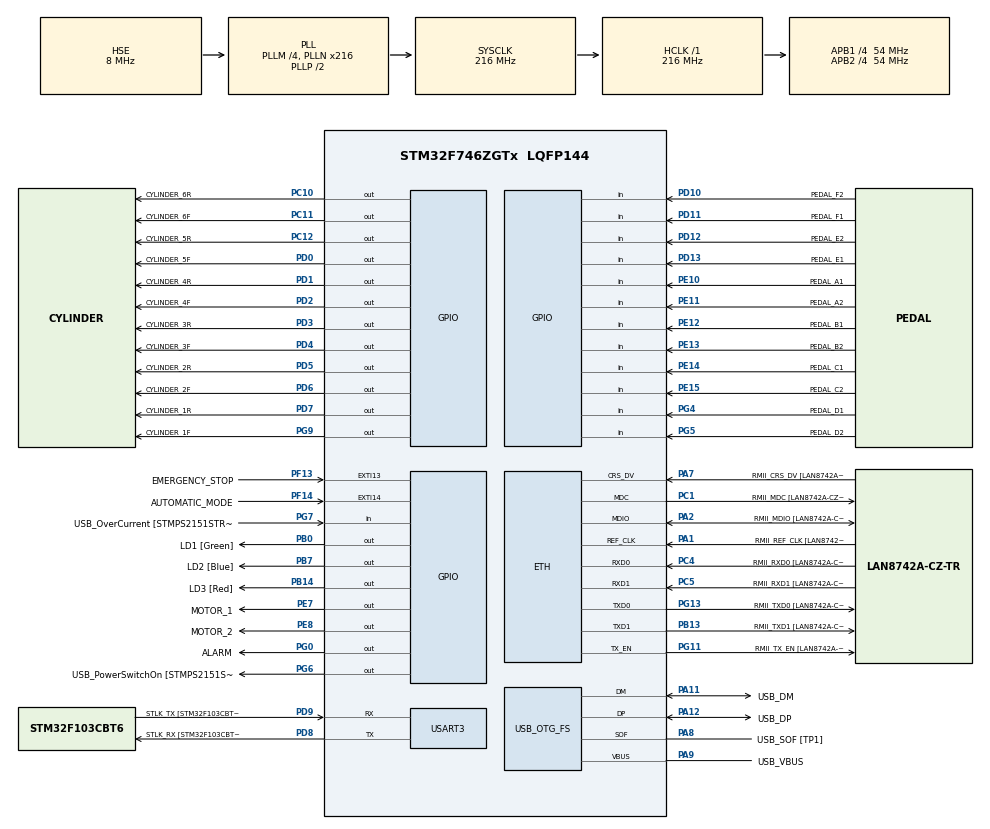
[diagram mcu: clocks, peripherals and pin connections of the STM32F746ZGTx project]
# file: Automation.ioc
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ETH.MediaInterface=ETH_MEDIA_INTERFACE_RMII
ETH.PHY_Name=LAN8742A_PHY_ADDRESS
ETH.PHY_Value=0
ETH.PhyAddress=0
Mcu.Family=STM32F7
Mcu.Name=STM32F746ZGTx
Mcu.Package=LQFP144
NVIC.EXTI15_10_IRQn=true\:0\:0\:false\:false\:true\:true\:true
NVIC.PriorityGroup=NVIC_PRIORITYGROUP_4
NVIC.TIM1_BRK_TIM9_IRQn=true\:0\:0\:false\:false\:true\:true\:true
NVIC.TIM1_CC_IRQn=true\:0\:0\:false\:false\:true\:true\:true
NVIC.TIM1_TRG_COM_TIM11_IRQn=true\:0\:0\:false\:false\:true\:true\:true
NVIC.TIM1_UP_TIM10_IRQn=true\:0\:0\:false\:false\:true\:true\:true
NVIC.TIM2_IRQn=true\:0\:0\:false\:false\:true\:true\:true
NVIC.TIM3_IRQn=true\:0\:0\:false\:false\:true\:true\:true
NVIC.TIM4_IRQn=true\:0\:0\:false\:false\:true\:true\:true
NVIC.TIM5_IRQn=true\:0\:0\:false\:false\:true\:true\:true
NVIC.TIM6_DAC_IRQn=true\:0\:0\:false\:false\:true\:true\:true
PA1.GPIO_Label=RMII_REF_CLK [LAN8742A-CZ-TR_REFCLK0]
PA1.Mode=RMII
PA1.Signal=ETH_REF_CLK
PA10.GPIO_Label=USB_ID
PA10.Signal=USB_OTG_FS_ID
PA11.GPIO_Label=USB_DM
PA11.Mode=Device_Only
PA11.Signal=USB_OTG_FS_DM
PA12.GPIO_Label=USB_DP
PA12.Mode=Device_Only
PA12.Signal=USB_OTG_FS_DP
PA13.GPIO_Label=TMS
PA13.Mode=Serial_Wire
PA13.Signal=SYS_JTMS-SWDIO
PA14.GPIO_Label=TCK
PA14.Mode=Serial_Wire
PA14.Signal=SYS_JTCK-SWCLK
PA2.GPIO_Label=RMII_MDIO [LAN8742A-CZ-TR_MDIO]
PA2.Mode=RMII
PA2.Signal=ETH_MDIO
PA7.GPIO_Label=RMII_CRS_DV [LAN8742A-CZ-TR_CRS_DV]
PA7.Mode=RMII
PA7.Signal=ETH_CRS_DV
PA8.GPIO_Label=USB_SOF [TP1]
PA8.Mode=Activate_SOF_FS
PA8.Signal=USB_OTG_FS_SOF
PA9.GPIO_Label=USB_VBUS
PA9.Mode=Activate_VBUS
PA9.Signal=USB_OTG_FS_VBUS
PB0.GPIO_Label=LD1 [Green]
PB0.Signal=GPIO_Output
PB13.GPIO_Label=RMII_TXD1 [LAN8742A-CZ-TR_TXD1]
PB13.Mode=RMII
PB13.Signal=ETH_TXD1
PB14.GPIO_Label=LD3 [Red]
PB14.Signal=GPIO_Output
PB3.GPIO_Label=SW0
PB3.Signal=SYS_JTDO-SWO
PB7.GPIO_Label=LD2 [Blue]
PB7.Signal=GPIO_Output
PC1.GPIO_Label=RMII_MDC [LAN8742A-CZ-TR_MDC]
PC1.Mode=RMII
PC1.Signal=ETH_MDC
PC10.GPIO_Label=CYLINDER_6R
PC10.PinState=GPIO_PIN_SET
PC10.Signal=GPIO_Output
PC11.GPIO_Label=CYLINDER_6F
PC11.PinState=GPIO_PIN_SET
PC11.Signal=GPIO_Output
PC12.GPIO_Label=CYLINDER_5R
PC12.PinState=GPIO_PIN_SET
PC12.Signal=GPIO_Output
PC14/OSC32_IN.Mode=LSE-External-Oscillator
PC14/OSC32_IN.Signal=RCC_OSC32_IN
PC15/OSC32_OUT.Mode=LSE-External-Oscillator
PC15/OSC32_OUT.Signal=RCC_OSC32_OUT
PC4.GPIO_Label=RMII_RXD0 [LAN8742A-CZ-TR_RXD0]
PC4.Mode=RMII
PC4.Signal=ETH_RXD0
PC5.GPIO_Label=RMII_RXD1 [LAN8742A-CZ-TR_RXD1]
PC5.Mode=RMII
PC5.Signal=ETH_RXD1
PD0.GPIO_Label=CYLINDER_5F
PD0.PinState=GPIO_PIN_SET
PD0.Signal=GPIO_Output
PD1.GPIO_Label=CYLINDER_4R
PD1.PinState=GPIO_PIN_SET
PD1.Signal=GPIO_Output
PD10.GPIO_Label=PEDAL_F2
PD10.Signal=GPIO_Input
PD11.GPIO_Label=PEDAL_F1
PD11.Signal=GPIO_Input
PD12.GPIO_Label=PEDAL_E2
PD12.Signal=GPIO_Input
PD13.GPIO_Label=PEDAL_E1
PD13.GPIO_PuPd=GPIO_NOPULL
PD13.Signal=GPIO_Input
PD2.GPIO_Label=CYLINDER_4F
PD2.PinState=GPIO_PIN_SET
PD2.Signal=GPIO_Output
PD3.GPIO_Label=CYLINDER_3R
PD3.PinState=GPIO_PIN_SET
PD3.Signal=GPIO_Output
PD4.GPIO_Label=CYLINDER_3F
PD4.PinState=GPIO_PIN_SET
PD4.Signal=GPIO_Output
PD5.GPIO_Label=CYLINDER_2R
PD5.PinState=GPIO_PIN_SET
PD5.Signal=GPIO_Output
PD6.GPIO_Label=CYLINDER_2F
PD6.PinState=GPIO_PIN_SET
PD6.Signal=GPIO_Output
PD7.GPIO_Label=CYLINDER_1R
PD7.PinState=GPIO_PIN_SET
PD7.Signal=GPIO_Output
PD8.GPIO_Label=STLK_RX [STM32F103CBT6_PA3]
PD8.Mode=Asynchronous
PD8.Signal=USART3_TX
PD9.GPIO_Label=STLK_TX [STM32F103CBT6_PA2]
PD9.Mode=Asynchronous
PD9.Signal=USART3_RX
PE10.GPIO_Label=PEDAL_A1
PE10.GPIO_PuPd=GPIO_NOPULL
PE10.Signal=GPIO_Input
PE11.GPIO_Label=PEDAL_A2
PE11.Signal=GPIO_Input
PE12.GPIO_Label=PEDAL_B1
PE12.Signal=GPIO_Input
PE13.GPIO_Label=PEDAL_B2
PE13.Signal=GPIO_Input
PE14.GPIO_Label=PEDAL_C1
PE14.Signal=GPIO_Input
PE15.GPIO_Label=PEDAL_C2
PE15.Signal=GPIO_Input
PE7.GPIO_Label=MOTOR_1
PE7.PinState=GPIO_PIN_SET
PE7.Signal=GPIO_Output
PE8.GPIO_Label=MOTOR_2
PE8.PinState=GPIO_PIN_SET
PE8.Signal=GPIO_Output
PF13.GPIO_Label=EMERGENCY_STOP
PF13.Signal=GPXTI13
PF14.GPIO_Label=AUTOMATIC_MODE
PF14.GPIO_ModeDefaultEXTI=GPIO_MODE_IT_RISING_FALLING
PF14.Signal=GPXTI14
PG0.GPIO_Label=ALARM
PG0.PinState=GPIO_PIN_SET
PG0.Signal=GPIO_Output
PG11.GPIO_Label=RMII_TX_EN [LAN8742A-CZ-TR_TXEN]
PG11.Mode=RMII
PG11.Signal=ETH_TX_EN
PG13.GPIO_Label=RMII_TXD0 [LAN8742A-CZ-TR_TXD0]
PG13.Mode=RMII
PG13.Signal=ETH_TXD0
PG4.GPIO_Label=PEDAL_D1
PG4.Signal=GPIO_Input
PG5.GPIO_Label=PEDAL_D2
PG5.Signal=GPIO_Input
PG6.GPIO_Label=USB_PowerSwitchOn [STMPS2151STR_EN]
PG6.Signal=GPIO_Output
PG7.GPIO_Label=USB_OverCurrent [STMPS2151STR_FAULT]
PG7.Signal=GPIO_Input
PG9.GPIO_Label=CYLINDER_1F
PG9.PinState=GPIO_PIN_SET
PG9.Signal=GPIO_Output
PH0/OSC_IN.GPIO_Label=MCO [STM32F103CBT6_PA8]
PH0/OSC_IN.Mode=HSE-External-Clock-Source
PH0/OSC_IN.Signal=RCC_OSC_IN
PH1/OSC_OUT.Mode=HSE-External-Clock-Source
PH1/OSC_OUT.Signal=RCC_OSC_OUT
ProjectManager.HeapSize=0x200
ProjectManager.StackSize=0x400
ProjectManager.TargetToolchain=STM32CubeIDE
RCC.48MHZClocksFreq_Value=24000000
RCC.AHBFreq_Value=216000000
RCC.APB1CLKDivider=RCC_HCLK_DIV4
RCC.APB1Freq_Value=54000000
RCC.APB1TimFreq_Value=108000000
RCC.APB2CLKDivider=RCC_HCLK_DIV4
RCC.APB2Freq_Value=54000000
RCC.APB2TimFreq_Value=108000000
RCC.CortexFreq_Value=216000000
RCC.HCLKFreq_Value=216000000
RCC.HSE_VALUE=8000000
RCC.HSI_VALUE=16000000
RCC.PLLM=4
RCC.PLLMUL=RCC_PLL_MUL9
RCC.PLLN=216
RCC.PLLQ=9
RCC.PRESCALERUSB=RCC_USBCLKSOURCE_PLL_DIV1_5
RCC.SYSCLKFreq_VALUE=216000000
RCC.SYSCLKSource=RCC_SYSCLKSOURCE_PLLCLK
RCC.SYSCLKSourceVirtual=RCC_SYSCLKSOURCE_PLLCLK
RCC.USBFreq_Value=48000000
RCC.VCOOutputFreq_Value=432000000
TIM1.ClockDivision=TIM_CLOCKDIVISION_DIV1
USART3.VirtualMode-Asynchronous=VM_ASYNC
USB_OTG_FS.VirtualMode=Device_Only
VP_TIM1_VS_ClockSourceINT.Mode=Internal
VP_TIM2_VS_ClockSourceINT.Mode=Internal
VP_TIM3_VS_ClockSourceINT.Mode=Internal
VP_TIM4_VS_ClockSourceINT.Mode=Internal
VP_TIM5_VS_ClockSourceINT.Mode=Internal
VP_TIM6_VS_ClockSourceINT.Mode=Enable_Timer
board=NUCLEO-F746ZG

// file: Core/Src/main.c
/* USER CODE BEGIN Header */
/**
  ******************************************************************************
  * @file           : main.c
  * @brief          : Main program body
  ******************************************************************************
  * @attention
  *
  * <h2><center>&copy; Copyright (c) 2020 STMicroelectronics.
  * All rights reserved.</center></h2>
  *
  * This software component is licensed by ST under BSD 3-Clause license,
  * the "License"; You may not use this file except in compliance with the
  * License. You may obtain a copy of the License at:
  *                        opensource.org/licenses/BSD-3-Clause
  *
  ******************************************************************************
  */
/* USER CODE END Header */

#include "main.h"
#include "eth.h"
#include "tim.h"
#include "usart.h"
#include "usb_otg.h"
#include "gpio.h"

/* USER CODE BEGIN PV */

uint8_t Machine_Mode=MANUAL;
extern Machine_info Machine_information;
extern uint32_t Cylinder_position[END_STATION];
uint8_t running_Automatic=0;
extern uint32_t Timer_counter[END_STATION];

/* USER CODE END PV */

void SystemClock_Config(void);

int main(void)
{

  /* MCU Configuration--------------------------------------------------------*/

  /* Reset of all peripherals, Initializes the Flash interface and the Systick. */
  HAL_Init();

  /* Configure the system clock */
  SystemClock_Config();

  /* Initialize all configured peripherals */
  MX_GPIO_Init();
  MX_ETH_Init();
  MX_TIM1_Init();
  MX_TIM2_Init();
  MX_TIM3_Init();
  MX_TIM4_Init();
  MX_TIM5_Init();
  MX_USART3_UART_Init();
  MX_USB_OTG_FS_PCD_Init();
  MX_TIM6_Init();
  /* USER CODE BEGIN 2 */
  Device_init();
  HAL_GPIO_EXTI_Callback(AUTOMATIC_MODE_Pin);
  //running_Automatic=Machine_Mode;
  //HAL_Delay(2000);
  //Machine_Mode=AUTOMATIC;
  /* USER CODE END 2 */

  /* Infinite loop */
  while (1)
  {

    /* USER CODE BEGIN 3 */

	  switch (Machine_Mode)
	  {
	   	 case AUTOMATIC      : Run_AutomaticMode();
	                           break;

	   	 case MANUAL         : Run_ManualMode();
	  	  	  	  	           break;

	   	 case EMERGENCY_STOP : Stop_Machine();
	   	   	   	   	   	   	   break;

	   	 default             : break;
	  }

  }
  /* USER CODE END 3 */
}

void SystemClock_Config(void)
{
  RCC_OscInitTypeDef RCC_OscInitStruct = {0};
  RCC_ClkInitTypeDef RCC_ClkInitStruct = {0};
  RCC_PeriphCLKInitTypeDef PeriphClkInitStruct = {0};

  /** Configure LSE Drive Capability
  */
  HAL_PWR_EnableBkUpAccess();
  /** Configure the main internal regulator output voltage
  */
  __HAL_RCC_PWR_CLK_ENABLE();
  __HAL_PWR_VOLTAGESCALING_CONFIG(PWR_REGULATOR_VOLTAGE_SCALE1);
  /** Initializes the CPU, AHB and APB busses clocks
  */
  RCC_OscInitStruct.OscillatorType = RCC_OSCILLATORTYPE_HSE;
  RCC_OscInitStruct.HSEState = RCC_HSE_BYPASS;
  RCC_OscInitStruct.PLL.PLLState = RCC_PLL_ON;
  RCC_OscInitStruct.PLL.PLLSource = RCC_PLLSOURCE_HSE;
  RCC_OscInitStruct.PLL.PLLM = 4;
  RCC_OscInitStruct.PLL.PLLN = 216;
  RCC_OscInitStruct.PLL.PLLP = RCC_PLLP_DIV2;
  RCC_OscInitStruct.PLL.PLLQ = 9;
  if (HAL_RCC_OscConfig(&RCC_OscInitStruct) != HAL_OK)
  {
    Error_Handler();
  }
  /** Activate the Over-Drive mode
  */
  if (HAL_PWREx_EnableOverDrive() != HAL_OK)
  {
    Error_Handler();
  }
  /** Initializes the CPU, AHB and APB busses clocks
  */
  RCC_ClkInitStruct.ClockType = RCC_CLOCKTYPE_HCLK|RCC_CLOCKTYPE_SYSCLK
                              |RCC_CLOCKTYPE_PCLK1|RCC_CLOCKTYPE_PCLK2;
  RCC_ClkInitStruct.SYSCLKSource = RCC_SYSCLKSOURCE_PLLCLK;
  RCC_ClkInitStruct.AHBCLKDivider = RCC_SYSCLK_DIV1;
  RCC_ClkInitStruct.APB1CLKDivider = RCC_HCLK_DIV4;
  RCC_ClkInitStruct.APB2CLKDivider = RCC_HCLK_DIV4;

  if (HAL_RCC_ClockConfig(&RCC_ClkInitStruct, FLASH_LATENCY_7) != HAL_OK)
  {
    Error_Handler();
  }
  PeriphClkInitStruct.PeriphClockSelection = RCC_PERIPHCLK_USART3|RCC_PERIPHCLK_CLK48;
  PeriphClkInitStruct.Usart3ClockSelection = RCC_USART3CLKSOURCE_PCLK1;
  PeriphClkInitStruct.Clk48ClockSelection = RCC_CLK48SOURCE_PLL;
  if (HAL_RCCEx_PeriphCLKConfig(&PeriphClkInitStruct) != HAL_OK)
  {
    Error_Handler();
  }
}

/* USER CODE BEGIN 4 */

void Device_init(void)
{
	Cylinder_position[STATION_1]=POSITION_1;
	Cylinder_position[STATION_2]=POSITION_1;
	Cylinder_position[STATION_3]=POSITION_1;
	Cylinder_position[STATION_4]=POSITION_1;
	Cylinder_position[STATION_5]=POSITION_1;
	Cylinder_position[STATION_6]=POSITION_1;

	Machine_information.Station_Information[STATION_1].Up_Movement_Duration=3*TIMER_ERROR_FACTOR;
	Machine_information.Station_Information[STATION_1].Stop_Movement_Duration=120*TIMER_ERROR_FACTOR;
	Machine_information.Station_Information[STATION_1].Down_Movement_Duration=5*TIMER_ERROR_FACTOR;

	Machine_information.Station_Information[STATION_2].Up_Movement_Duration=3*TIMER_ERROR_FACTOR;
	Machine_information.Station_Information[STATION_2].Stop_Movement_Duration=120*TIMER_ERROR_FACTOR;
	Machine_information.Station_Information[STATION_2].Down_Movement_Duration=5*TIMER_ERROR_FACTOR;

	Machine_information.Station_Information[STATION_3].Up_Movement_Duration=3*TIMER_ERROR_FACTOR;
	Machine_information.Station_Information[STATION_3].Stop_Movement_Duration=120*TIMER_ERROR_FACTOR;
	Machine_information.Station_Information[STATION_3].Down_Movement_Duration=5*TIMER_ERROR_FACTOR;

	Machine_information.Station_Information[STATION_4].Up_Movement_Duration=3*TIMER_ERROR_FACTOR;
	Machine_information.Station_Information[STATION_4].Stop_Movement_Duration=120*TIMER_ERROR_FACTOR;
	Machine_information.Station_Information[STATION_4].Down_Movement_Duration=5*TIMER_ERROR_FACTOR;

	Machine_information.Station_Information[STATION_5].Up_Movement_Duration=3*TIMER_ERROR_FACTOR;
	Machine_information.Station_Information[STATION_5].Stop_Movement_Duration=120*TIMER_ERROR_FACTOR;
	Machine_information.Station_Information[STATION_5].Down_Movement_Duration=5*TIMER_ERROR_FACTOR;

	Machine_information.Station_Information[STATION_6].Up_Movement_Duration=3*TIMER_ERROR_FACTOR;
	Machine_information.Station_Information[STATION_6].Stop_Movement_Duration=120*TIMER_ERROR_FACTOR;
	Machine_information.Station_Information[STATION_6].Down_Movement_Duration=5*TIMER_ERROR_FACTOR;

	HAL_GPIO_WritePin(CYLINDER_1R_GPIO_Port, CYLINDER_1R_Pin, GPIO_PIN_SET);
    HAL_GPIO_WritePin(CYLINDER_1F_GPIO_Port, CYLINDER_1F_Pin, GPIO_PIN_SET);
	HAL_GPIO_WritePin(CYLINDER_2R_GPIO_Port, CYLINDER_2R_Pin, GPIO_PIN_SET);
    HAL_GPIO_WritePin(CYLINDER_2F_GPIO_Port, CYLINDER_2F_Pin, GPIO_PIN_SET);
	HAL_GPIO_WritePin(CYLINDER_3R_GPIO_Port, CYLINDER_3R_Pin, GPIO_PIN_SET);
    HAL_GPIO_WritePin(CYLINDER_3F_GPIO_Port, CYLINDER_3F_Pin, GPIO_PIN_SET);
	HAL_GPIO_WritePin(CYLINDER_4R_GPIO_Port, CYLINDER_4R_Pin, GPIO_PIN_SET);
    HAL_GPIO_WritePin(CYLINDER_4F_GPIO_Port, CYLINDER_4F_Pin, GPIO_PIN_SET);
	HAL_GPIO_WritePin(CYLINDER_5R_GPIO_Port, CYLINDER_5R_Pin, GPIO_PIN_SET);
    HAL_GPIO_WritePin(CYLINDER_5F_GPIO_Port, CYLINDER_5F_Pin, GPIO_PIN_SET);
    HAL_GPIO_WritePin(CYLINDER_6R_GPIO_Port, CYLINDER_6R_Pin, GPIO_PIN_SET);
    HAL_GPIO_WritePin(CYLINDER_6F_GPIO_Port, CYLINDER_6F_Pin, GPIO_PIN_SET);
	HAL_GPIO_WritePin(MOTOR_1_GPIO_Port, MOTOR_1_Pin, GPIO_PIN_SET);
	HAL_GPIO_WritePin(MOTOR_2_GPIO_Port, MOTOR_2_Pin, GPIO_PIN_SET);

	Timer_counter[STATION_1]=0;
	Timer_counter[STATION_1]=0;
	Timer_counter[STATION_1]=0;
	Timer_counter[STATION_1]=0;
	Timer_counter[STATION_1]=0;
	Timer_counter[STATION_1]=0;

	HAL_TIM_Base_Stop_IT(&htim1);
	HAL_TIM_Base_Stop_IT(&htim2);
	HAL_TIM_Base_Stop_IT(&htim3);
	HAL_TIM_Base_Stop_IT(&htim4);
	HAL_TIM_Base_Stop_IT(&htim5);
	HAL_TIM_Base_Stop_IT(&htim6);

}

/* USER CODE END 4 */

void Error_Handler(void)
{
}

/************************ (C) COPYRIGHT STMicroelectronics *****END OF FILE****/
